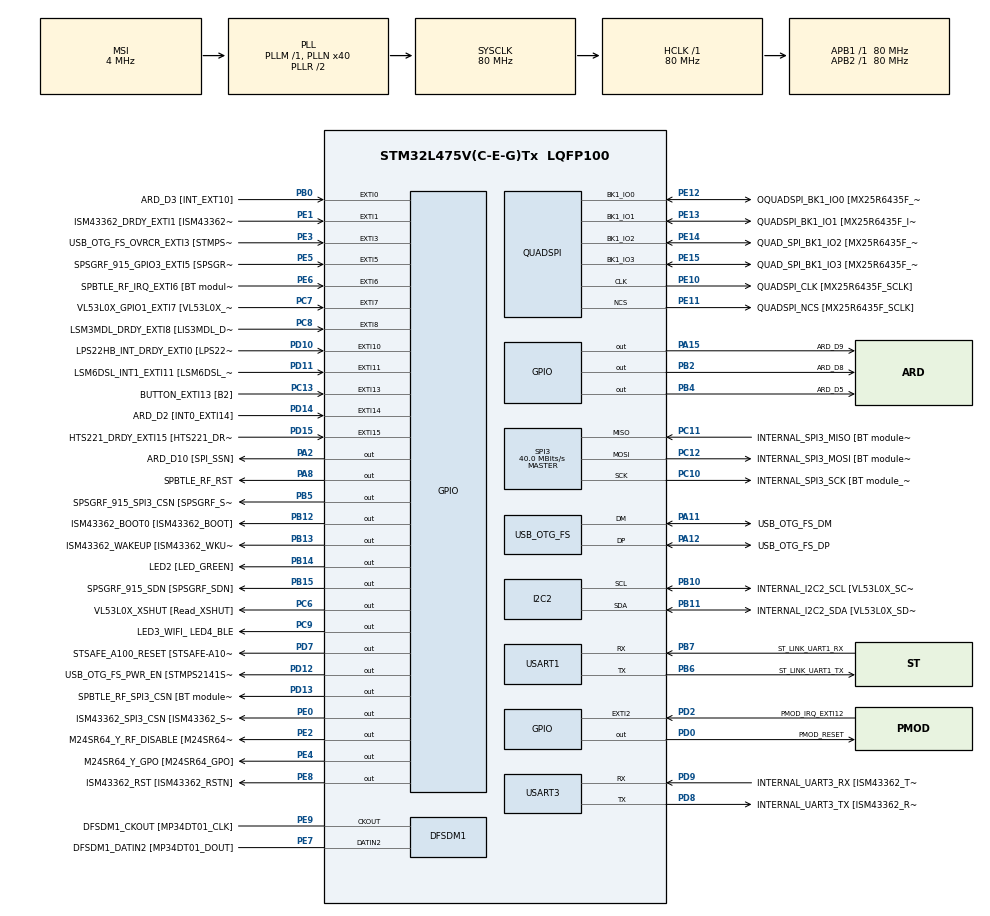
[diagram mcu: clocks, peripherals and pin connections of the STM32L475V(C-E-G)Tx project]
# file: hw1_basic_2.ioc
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FREERTOS.Tasks01=defaultTask,24,128,StartDefaultTask,Default,NULL,Dynamic,NULL,NULL
FREERTOS.configTOTAL_HEAP_SIZE=8000
I2C2.Timing=0x10D19CE4
Mcu.Family=STM32L4
Mcu.Name=STM32L475V(C-E-G)Tx
Mcu.Package=LQFP100
NVIC.EXTI15_10_IRQn=true\:5\:0\:false\:false\:true\:true\:true\:true\:true
NVIC.EXTI9_5_IRQn=true\:5\:0\:false\:false\:true\:true\:true\:true\:true
NVIC.PriorityGroup=NVIC_PRIORITYGROUP_4
NVIC.TIM6_DAC_IRQn=true\:5\:0\:false\:false\:true\:true\:true\:true\:true
PA0.GPIO_Label=ARD_D1 [UART4_TX]
PA0.Signal=UART4_TX
PA1.GPIO_Label=ARD_D0 [UART4_RX]
PA1.Signal=UART4_RX
PA10.GPIO_Label=USB_OTG_FS_ID
PA10.Signal=USB_OTG_FS_ID
PA11.GPIO_Label=USB_OTG_FS_DM
PA11.Mode=Device_Only
PA11.Signal=USB_OTG_FS_DM
PA12.GPIO_Label=USB_OTG_FS_DP
PA12.Mode=Device_Only
PA12.Signal=USB_OTG_FS_DP
PA13\ (JTMS-SWDIO).GPIO_Label=SYS_JTMS_SWDIO
PA13\ (JTMS-SWDIO).Mode=Serial_Wire
PA13\ (JTMS-SWDIO).Signal=SYS_JTMS-SWDIO
PA14\ (JTCK-SWCLK).GPIO_Label=SYS_JTCK_SWCLK
PA14\ (JTCK-SWCLK).Mode=Serial_Wire
PA14\ (JTCK-SWCLK).Signal=SYS_JTCK-SWCLK
PA15\ (JTDI).GPIO_Label=ARD_D9
PA15\ (JTDI).Signal=GPIO_Output
PA2.GPIO_Label=ARD_D10 [SPI_SSN]
PA2.Signal=GPIO_Output
PA3.GPIO_Label=ARD_D4
PA3.Signal=S_TIM2_CH4
PA4.GPIO_Label=ARD_D7
PA4.Signal=ADCx_IN9
PA5.GPIO_Label=ARD_D13 [SPI1_SCK]
PA5.Signal=SPI1_SCK
PA6.GPIO_Label=ARD_D12 [SPI1_MISO]
PA6.Signal=SPI1_MISO
PA7.GPIO_Label=ARD_D11 [SPI1_MOSI]
PA7.Signal=SPI1_MOSI
PA8.GPIO_Label=SPBTLE_RF_RST
PA8.Signal=GPIO_Output
PA9.GPIO_Label=USB_OTG_FS_VBUS [STMPS2141STR_OUT]
PA9.Signal=USB_OTG_FS_VBUS
PB0.GPIO_Label=ARD_D3 [INT_EXT10]
PB0.Signal=GPXTI0
PB1.GPIO_Label=ARD_D6 [ADC1_IN6]
PB1.Signal=ADCx_IN16
PB10.GPIO_Label=INTERNAL_I2C2_SCL [VL53L0X_SCL]
PB10.GPIO_Pu=GPIO_PULLUP
PB10.Mode=I2C
PB10.Signal=I2C2_SCL
PB11.GPIO_Label=INTERNAL_I2C2_SDA [VL53L0X_SDA]
PB11.GPIO_Pu=GPIO_PULLUP
PB11.Mode=I2C
PB11.Signal=I2C2_SDA
PB12.GPIO_Label=ISM43362_BOOT0 [ISM43362_BOOT]
PB12.Signal=GPIO_Output
PB13.GPIO_Label=ISM43362_WAKEUP [ISM43362_WKUP]
PB13.Signal=GPIO_Output
PB14.GPIO_Label=LED2 [LED_GREEN]
PB14.Signal=GPIO_Output
PB15.GPIO_Label=SPSGRF_915_SDN [SPSGRF_SDN]
PB15.Signal=GPIO_Output
PB2.GPIO_Label=ARD_D8
PB2.Signal=GPIO_Output
PB3\ (JTDO-TRACESWO).GPIO_Label=SYS_JTD0_SWO
PB3\ (JTDO-TRACESWO).Signal=SYS_JTDO-SWO
PB4\ (NJTRST).GPIO_Label=ARD_D5
PB4\ (NJTRST).Signal=GPIO_Output
PB5.GPIO_Label=SPSGRF_915_SPI3_CSN [SPSGRF_SPI_CS]
PB5.PinState=GPIO_PIN_SET
PB5.Signal=GPIO_Output
PB6.GPIO_Label=ST_LINK_UART1_TX
PB6.Mode=Asynchronous
PB6.Signal=USART1_TX
PB7.GPIO_Label=ST_LINK_UART1_RX
PB7.Mode=Asynchronous
PB7.Signal=USART1_RX
PB8.GPIO_Label=ARD_D15 [I2C1_SCL]
PB8.Signal=I2C1_SCL
PB9.GPIO_Label=ARD_D14 [I2C1_SDA]
PB9.Signal=I2C1_SDA
PC0.GPIO_Label=ARD_A5 [ADC]
PC0.Signal=ADCx_IN1
PC1.GPIO_Label=ARD_A4 [ADC]
PC1.Signal=ADCx_IN2
PC10.GPIO_Label=INTERNAL_SPI3_SCK [BT module_SPI_SCLK] [ISM43362_SCK]
PC10.Mode=Full_Duplex_Master
PC10.Signal=SPI3_SCK
PC11.GPIO_Label=INTERNAL_SPI3_MISO [BT module_SPI_MISO] [ISM43362_MISO]
PC11.Mode=Full_Duplex_Master
PC11.Signal=SPI3_MISO
PC12.GPIO_Label=INTERNAL_SPI3_MOSI [BT module_SPI_MOSI] [ISM43362_MOSI]
PC12.Mode=Full_Duplex_Master
PC12.Signal=SPI3_MOSI
PC13.GPIO_Label=BUTTON_EXTI13 [B2]
PC13.GPIO_ModeDefaultEXTI=GPIO_MODE_IT_FALLING
PC13.Signal=GPXTI13
PC14-OSC32_IN\ (PC14).Mode=LSE-External-Oscillator
PC14-OSC32_IN\ (PC14).Signal=RCC_OSC32_IN
PC15-OSC32_OUT\ (PC15).Mode=LSE-External-Oscillator
PC15-OSC32_OUT\ (PC15).Signal=RCC_OSC32_OUT
PC2.GPIO_Label=ARD_A3 [ADC]
PC2.Signal=ADCx_IN3
PC3.GPIO_Label=ARD_A2 [ADC]
PC3.Signal=ADCx_IN4
PC4.GPIO_Label=ARD_A1 [ADC]
PC4.Signal=ADCx_IN13
PC5.GPIO_Label=ARD_A0 [ADC]
PC5.Signal=ADCx_IN14
PC6.GPIO_Label=VL53L0X_XSHUT [Read_XSHUT]
PC6.Signal=GPIO_Output
PC7.GPIO_Label=VL53L0X_GPIO1_EXTI7 [VL53L0X_GPIO1]
PC7.Signal=GPXTI7
PC8.GPIO_Label=LSM3MDL_DRDY_EXTI8 [LIS3MDL_DRDY]
PC8.Signal=GPXTI8
PC9.GPIO_Label=LED3_WIFI_ LED4_BLE
PC9.Signal=GPIO_Output
PD0.GPIO_Label=PMOD_RESET
PD0.Signal=GPIO_Output
PD1.GPIO_Label=PMOD_SPI2_SCK
PD1.Signal=SPI2_SCK
PD10.GPIO_Label=LPS22HB_INT_DRDY_EXTI0 [LPS22HB_INT_DRDY] 
PD10.Signal=GPXTI10
PD11.GPIO_Label=LSM6DSL_INT1_EXTI11 [LSM6DSL_INT1]
PD11.Signal=GPXTI11
PD12.GPIO_Label=USB_OTG_FS_PWR_EN [STMPS2141STR_EN]
PD12.Signal=GPIO_Output
PD13.GPIO_Label=SPBTLE_RF_SPI3_CSN [BT module_SPI_CS]
PD13.PinState=GPIO_PIN_SET
PD13.Signal=GPIO_Output
PD14.GPIO_Label=ARD_D2 [INT0_EXTI14]
PD14.Signal=GPXTI14
PD15.GPIO_Label=HTS221_DRDY_EXTI15 [HTS221_DRDY]
PD15.Signal=GPXTI15
PD2.GPIO_Label=PMOD_IRQ_EXTI12
PD2.Signal=GPXTI2
PD3.GPIO_Label=PMOD_UART2_CTS
PD3.Signal=USART2_CTS
PD4.GPIO_Label=PMOD_UART2_RTS
PD4.Signal=USART2_RTS
PD5.GPIO_Label=PMOD_UART2_TX
PD5.Signal=USART2_TX
PD6.GPIO_Label=PMOD_UART2_RX
PD6.Signal=USART2_RX
PD7.GPIO_Label=STSAFE_A100_RESET [STSAFE-A100_RESET]
PD7.Signal=GPIO_Output
PD8.GPIO_Label=INTERNAL_UART3_TX [ISM43362_RX]
PD8.Mode=Asynchronous
PD8.Signal=USART3_TX
PD9.GPIO_Label=INTERNAL_UART3_RX [ISM43362_TX]
PD9.Mode=Asynchronous
PD9.Signal=USART3_RX
PE0.GPIO_Label=ISM43362_SPI3_CSN [ISM43362_SSN]
PE0.PinState=GPIO_PIN_SET
PE0.Signal=GPIO_Output
PE1.GPIO_Label=ISM43362_DRDY_EXTI1 [ISM43362_DATARDY]
PE1.Signal=GPXTI1
PE10.GPIO_Label=QUADSPI_CLK [MX25R6435F_SCLK]
PE10.Mode=Single Bank
PE10.Signal=QUADSPI_CLK
PE11.GPIO_Label=QUADSPI_NCS [MX25R6435F_SCLK]
PE11.Mode=Single Bank
PE11.Signal=QUADSPI_NCS
PE12.GPIO_Label=OQUADSPI_BK1_IO0 [MX25R6435F_IO0]
PE12.Mode=Single Bank
PE12.Signal=QUADSPI_BK1_IO0
PE13.GPIO_Label=QUADSPI_BK1_IO1 [MX25R6435F_IO1]
PE13.Mode=Single Bank
PE13.Signal=QUADSPI_BK1_IO1
PE14.GPIO_Label=QUAD_SPI_BK1_IO2 [MX25R6435F_IO2]
PE14.Mode=Single Bank
PE14.Signal=QUADSPI_BK1_IO2
PE15.GPIO_Label=QUAD_SPI_BK1_IO3 [MX25R6435F_IO3]
PE15.Mode=Single Bank
PE15.Signal=QUADSPI_BK1_IO3
PE2.GPIO_Label=M24SR64_Y_RF_DISABLE [M24SR64_RFDIS]
PE2.Signal=GPIO_Output
PE3.GPIO_Label=USB_OTG_FS_OVRCR_EXTI3 [STMPS2141STR_FAULT]
PE3.Signal=GPXTI3
PE4.GPIO_Label=M24SR64_Y_GPO [M24SR64_GPO]
PE4.Signal=GPIO_Output
PE5.GPIO_Label=SPSGRF_915_GPIO3_EXTI5 [SPSGRF_GPIO_3]
PE5.Signal=GPXTI5
PE6.GPIO_Label=SPBTLE_RF_IRQ_EXTI6 [BT module_SPI_IRQ]
PE6.Signal=GPXTI6
PE7.GPIO_Label=DFSDM1_DATIN2 [MP34DT01_DOUT]
PE7.Signal=S_DATAIN2DFSDM1
PE8.GPIO_Label=ISM43362_RST [ISM43362_RSTN]
PE8.Signal=GPIO_Output
PE9.GPIO_Label=DFSDM1_CKOUT [MP34DT01_CLK]
PE9.Signal=S_CKOUTDFSDM1
ProjectManager.HeapSize=0x200
ProjectManager.StackSize=0x400
ProjectManager.TargetToolchain=STM32CubeIDE
QUADSPI.ClockPrescaler=2
QUADSPI.FifoThreshold=4
QUADSPI.FlashSize=23
QUADSPI.SampleShifting=QSPI_SAMPLE_SHIFTING_HALFCYCLE
RCC.ADCFreq_Value=48000000
RCC.AHBFreq_Value=80000000
RCC.APB1Freq_Value=80000000
RCC.APB1TimFreq_Value=80000000
RCC.APB2Freq_Value=80000000
RCC.APB2TimFreq_Value=80000000
RCC.CortexFreq_Value=80000000
RCC.HCLKFreq_Value=80000000
RCC.HSE_VALUE=8000000
RCC.HSI_VALUE=16000000
RCC.MSI_VALUE=4000000
RCC.PLLN=40
RCC.PLLSAI1N=24
RCC.SYSCLKFreq_VALUE=80000000
RCC.SYSCLKSource=RCC_SYSCLKSOURCE_PLLCLK
RCC.USBFreq_Value=48000000
RCC.VCOOutputFreq_Value=160000000
SH.ADCx_IN1.0=ADC1_IN1
SH.ADCx_IN13.0=ADC1_IN13
SH.ADCx_IN14.0=ADC1_IN14
SH.ADCx_IN16.0=ADC1_IN16
SH.ADCx_IN2.0=ADC1_IN2
SH.ADCx_IN3.0=ADC1_IN3
SH.ADCx_IN4.0=ADC1_IN4
SH.ADCx_IN9.0=ADC1_IN9
SH.S_CKOUTDFSDM1.0=DFSDM1_CKOUT,CKOUT
SH.S_CKOUTDFSDM1.1=DFSDM1_CKOUT,PDM_SPI_Input_from_ch12_and_Internal_Clock
SH.S_DATAIN2DFSDM1.0=DFSDM1_DATIN2,PDM_SPI_Input_from_ch12_and_Internal_Clock
SH.S_TIM2_CH4.0=TIM2_CH4
SPI3.CalculateBaudRate=40.0 MBits/s
SPI3.Direction=SPI_DIRECTION_2LINES
SPI3.Mode=SPI_MODE_MASTER
SPI3.VirtualType=VM_MASTER
TIM6.Period=49999
TIM6.Prescaler=15999
USART1.VirtualMode-Asynchronous=VM_ASYNC
USART3.VirtualMode-Asynchronous=VM_ASYNC
USB_OTG_FS.VirtualMode=Device_Only
VP_FREERTOS_VS_CMSIS_V2.Mode=CMSIS_V2
VP_TIM6_VS_ClockSourceINT.Mode=Enable_Timer
board=B-L475E-IOT01A2

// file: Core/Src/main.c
/* USER CODE BEGIN Header */
/**
  ******************************************************************************
  * @file           : main.c
  * @brief          : Main program body
  ******************************************************************************
  * @attention
  *
  * Copyright (c) 2025 STMicroelectronics.
  * All rights reserved.
  *
  * This software is licensed under terms that can be found in the LICENSE file
  * in the root directory of this software component.
  * If no LICENSE file comes with this software, it is provided AS-IS.
  *
  ******************************************************************************
  */
/* USER CODE END Header */
#include "main.h"
#include "cmsis_os.h"

/* USER CODE BEGIN Includes */
#include "cmsis_os2.h"
#include <stdbool.h>
/* USER CODE END Includes */

DFSDM_Channel_HandleTypeDef hdfsdm1_channel1;

I2C_HandleTypeDef hi2c2;

QSPI_HandleTypeDef hqspi;

SPI_HandleTypeDef hspi3;

TIM_HandleTypeDef htim6;

UART_HandleTypeDef huart1;
UART_HandleTypeDef huart3;

PCD_HandleTypeDef hpcd_USB_OTG_FS;

/* Definitions for defaultTask */
osThreadId_t defaultTaskHandle;
const osThreadAttr_t defaultTask_attributes = {
  .name = "defaultTask",
  .stack_size = 128 * 4,
  .priority = (osPriority_t) osPriorityNormal,
};
/* USER CODE BEGIN PV */
osThreadId_t task1Handle, task2Handle;
osMutexId_t  gBlinkMutex;
osSemaphoreId_t semBtn;    // 按鍵觸發
osSemaphoreId_t semTimer;  // 10s 觸發
/* USER CODE END PV */

void SystemClock_Config(void);
static void MX_GPIO_Init(void);
static void MX_DFSDM1_Init(void);
static void MX_I2C2_Init(void);
static void MX_QUADSPI_Init(void);
static void MX_SPI3_Init(void);
static void MX_USART1_UART_Init(void);
static void MX_USART3_UART_Init(void);
static void MX_USB_OTG_FS_PCD_Init(void);
static void MX_TIM6_Init(void);
void StartDefaultTask(void *argument);

/* USER CODE BEGIN PFP */
static void Task1(void *argument);
static void Task2(void *argument);
static void blink_blocking(uint32_t duration_ms, float hz);
/* USER CODE END PFP */

/* USER CODE BEGIN 0 */
static void blink_blocking(uint32_t duration_ms, float hz)
{
  osMutexAcquire(gBlinkMutex, osWaitForever);

  uint32_t period_ms = (uint32_t)(1000.0f / hz);
  uint32_t elapsed = 0;
  // 簡單對等 on/off：每半週期切一次
  while (elapsed < duration_ms) {
    HAL_GPIO_TogglePin(LED2_GPIO_Port, LED2_Pin);
    osDelay(period_ms / 2);
    elapsed += period_ms / 2;

    HAL_GPIO_TogglePin(LED2_GPIO_Port, LED2_Pin);
    osDelay(period_ms / 2);
    elapsed += period_ms / 2;
  }
  // 收尾：關燈
  HAL_GPIO_WritePin(LED2_GPIO_Port, LED2_Pin, GPIO_PIN_RESET);

  osMutexRelease(gBlinkMutex);
}

// ===== Task_1：按鍵觸發（5s @ 1Hz）=====
static void Task1(void *argument)
{
  (void)argument;
  for (;;) {
    if (osSemaphoreAcquire(semBtn, osWaitForever) == osOK) {
      blink_blocking(5000, 1.0f);
    }
  }
}

// ===== Task_2：每 10s 觸發（2s @ 10Hz）=====
static void Task2(void *argument)
{
  (void)argument;
  for (;;) {
    if (osSemaphoreAcquire(semTimer, osWaitForever) == osOK) {
      blink_blocking(2000, 10.0f);
    }
  }
}

// ===== EXTI 按鍵回呼：喚醒 Task_1 =====
void HAL_GPIO_EXTI_Callback(uint16_t GPIO_Pin)
{
  if (GPIO_Pin == BUTTON_EXTI13_Pin) {   // 依你專案的巨集名稱
    osSemaphoreRelease(semBtn);        // CMSIS-RTOS2 封裝的 ISR-safe
  }
}
void HAL_TIM_PeriodElapsedCallback(TIM_HandleTypeDef *htim)
{
  if (htim->Instance == TIM6) {
    osSemaphoreRelease(semTimer);      // ISR-safe
  }
}
// ===== TIM6 週期回呼：喚醒 Task_2 =====

/* USER CODE END 0 */

int main(void)
{

  /* MCU Configuration--------------------------------------------------------*/

  /* Reset of all peripherals, Initializes the Flash interface and the Systick. */
  HAL_Init();

  /* Configure the system clock */
  SystemClock_Config();

  /* Initialize all configured peripherals */
  MX_GPIO_Init();
  MX_DFSDM1_Init();
  MX_I2C2_Init();
  MX_QUADSPI_Init();
  MX_SPI3_Init();
  MX_USART1_UART_Init();
  MX_USART3_UART_Init();
  MX_USB_OTG_FS_PCD_Init();
  MX_TIM6_Init();
  /* USER CODE BEGIN 2 */
  HAL_TIM_Base_Start_IT(&htim6);  // 啟動 TIM6 並開中斷
  /* USER CODE END 2 */

  /* Init scheduler */
  osKernelInitialize();

  /* USER CODE BEGIN RTOS_MUTEX */
  /* add mutexes, ... */

  const osMutexAttr_t mtxAttr = { .name = "blinkMutex" };
  gBlinkMutex = osMutexNew(&mtxAttr);
  /* USER CODE END RTOS_MUTEX */

  /* USER CODE BEGIN RTOS_SEMAPHORES */
  /* add semaphores, ... */
  const osSemaphoreAttr_t semBtnAttr = { .name = "semBtn" };
    semBtn   = osSemaphoreNew(1, 0, &semBtnAttr);

  /* USER CODE END RTOS_SEMAPHORES */

  /* USER CODE BEGIN RTOS_TIMERS */
    const osSemaphoreAttr_t semTmrAttr = { .name = "semTimer" };
      semTimer = osSemaphoreNew(1, 0, &semTmrAttr);

  /* start timers, add new ones, ... */
  /* USER CODE END RTOS_TIMERS */

  /* Create the thread(s) */
  /* creation of defaultTask */
  defaultTaskHandle = osThreadNew(StartDefaultTask, NULL, &defaultTask_attributes);

  /* USER CODE BEGIN RTOS_THREADS */
  /* add threads, ... */
  const osThreadAttr_t t1Attr = {
    .name = "Task_1",
    .priority = osPriorityBelowNormal,
    .stack_size = 512
  };
  task1Handle = osThreadNew(Task1, NULL, &t1Attr);

  const osThreadAttr_t t2Attr = {
    .name = "Task_2",
    .priority = osPriorityNormal,
    .stack_size = 512
  };
  task2Handle = osThreadNew(Task2, NULL, &t2Attr);
  /* USER CODE END RTOS_THREADS */

  /* Start scheduler */
  osKernelStart();

  /* We should never get here as control is now taken by the scheduler */

  /* Infinite loop */
  while (1)
  {

  }
}

void SystemClock_Config(void)
{
  RCC_OscInitTypeDef RCC_OscInitStruct = {0};
  RCC_ClkInitTypeDef RCC_ClkInitStruct = {0};

  /** Configure the main internal regulator output voltage
  */
  if (HAL_PWREx_ControlVoltageScaling(PWR_REGULATOR_VOLTAGE_SCALE1) != HAL_OK)
  {
    Error_Handler();
  }

  /** Configure LSE Drive Capability
  */
  HAL_PWR_EnableBkUpAccess();
  __HAL_RCC_LSEDRIVE_CONFIG(RCC_LSEDRIVE_LOW);

  /** Initializes the RCC Oscillators according to the specified parameters
  * in the RCC_OscInitTypeDef structure.
  */
  RCC_OscInitStruct.OscillatorType = RCC_OSCILLATORTYPE_LSE|RCC_OSCILLATORTYPE_MSI;
  RCC_OscInitStruct.LSEState = RCC_LSE_ON;
  RCC_OscInitStruct.MSIState = RCC_MSI_ON;
  RCC_OscInitStruct.MSICalibrationValue = 0;
  RCC_OscInitStruct.MSIClockRange = RCC_MSIRANGE_6;
  RCC_OscInitStruct.PLL.PLLState = RCC_PLL_ON;
  RCC_OscInitStruct.PLL.PLLSource = RCC_PLLSOURCE_MSI;
  RCC_OscInitStruct.PLL.PLLM = 1;
  RCC_OscInitStruct.PLL.PLLN = 40;
  RCC_OscInitStruct.PLL.PLLP = RCC_PLLP_DIV7;
  RCC_OscInitStruct.PLL.PLLQ = RCC_PLLQ_DIV2;
  RCC_OscInitStruct.PLL.PLLR = RCC_PLLR_DIV2;
  if (HAL_RCC_OscConfig(&RCC_OscInitStruct) != HAL_OK)
  {
    Error_Handler();
  }

  /** Initializes the CPU, AHB and APB buses clocks
  */
  RCC_ClkInitStruct.ClockType = RCC_CLOCKTYPE_HCLK|RCC_CLOCKTYPE_SYSCLK
                              |RCC_CLOCKTYPE_PCLK1|RCC_CLOCKTYPE_PCLK2;
  RCC_ClkInitStruct.SYSCLKSource = RCC_SYSCLKSOURCE_PLLCLK;
  RCC_ClkInitStruct.AHBCLKDivider = RCC_SYSCLK_DIV1;
  RCC_ClkInitStruct.APB1CLKDivider = RCC_HCLK_DIV1;
  RCC_ClkInitStruct.APB2CLKDivider = RCC_HCLK_DIV1;

  if (HAL_RCC_ClockConfig(&RCC_ClkInitStruct, FLASH_LATENCY_4) != HAL_OK)
  {
    Error_Handler();
  }

  /** Enable MSI Auto calibration
  */
  HAL_RCCEx_EnableMSIPLLMode();
}

static void MX_DFSDM1_Init(void)
{

  hdfsdm1_channel1.Instance = DFSDM1_Channel1;
  hdfsdm1_channel1.Init.OutputClock.Activation = ENABLE;
  hdfsdm1_channel1.Init.OutputClock.Selection = DFSDM_CHANNEL_OUTPUT_CLOCK_SYSTEM;
  hdfsdm1_channel1.Init.OutputClock.Divider = 2;
  hdfsdm1_channel1.Init.Input.Multiplexer = DFSDM_CHANNEL_EXTERNAL_INPUTS;
  hdfsdm1_channel1.Init.Input.DataPacking = DFSDM_CHANNEL_STANDARD_MODE;
  hdfsdm1_channel1.Init.Input.Pins = DFSDM_CHANNEL_FOLLOWING_CHANNEL_PINS;
  hdfsdm1_channel1.Init.SerialInterface.Type = DFSDM_CHANNEL_SPI_RISING;
  hdfsdm1_channel1.Init.SerialInterface.SpiClock = DFSDM_CHANNEL_SPI_CLOCK_INTERNAL;
  hdfsdm1_channel1.Init.Awd.FilterOrder = DFSDM_CHANNEL_FASTSINC_ORDER;
  hdfsdm1_channel1.Init.Awd.Oversampling = 1;
  hdfsdm1_channel1.Init.Offset = 0;
  hdfsdm1_channel1.Init.RightBitShift = 0x00;
  if (HAL_DFSDM_ChannelInit(&hdfsdm1_channel1) != HAL_OK)
  {
    Error_Handler();
  }

}

static void MX_I2C2_Init(void)
{

  hi2c2.Instance = I2C2;
  hi2c2.Init.Timing = 0x10D19CE4;
  hi2c2.Init.OwnAddress1 = 0;
  hi2c2.Init.AddressingMode = I2C_ADDRESSINGMODE_7BIT;
  hi2c2.Init.DualAddressMode = I2C_DUALADDRESS_DISABLE;
  hi2c2.Init.OwnAddress2 = 0;
  hi2c2.Init.OwnAddress2Masks = I2C_OA2_NOMASK;
  hi2c2.Init.GeneralCallMode = I2C_GENERALCALL_DISABLE;
  hi2c2.Init.NoStretchMode = I2C_NOSTRETCH_DISABLE;
  if (HAL_I2C_Init(&hi2c2) != HAL_OK)
  {
    Error_Handler();
  }

  /** Configure Analogue filter
  */
  if (HAL_I2CEx_ConfigAnalogFilter(&hi2c2, I2C_ANALOGFILTER_ENABLE) != HAL_OK)
  {
    Error_Handler();
  }

  /** Configure Digital filter
  */
  if (HAL_I2CEx_ConfigDigitalFilter(&hi2c2, 0) != HAL_OK)
  {
    Error_Handler();
  }

}

static void MX_QUADSPI_Init(void)
{

  /* QUADSPI parameter configuration*/
  hqspi.Instance = QUADSPI;
  hqspi.Init.ClockPrescaler = 2;
  hqspi.Init.FifoThreshold = 4;
  hqspi.Init.SampleShifting = QSPI_SAMPLE_SHIFTING_HALFCYCLE;
  hqspi.Init.FlashSize = 23;
  hqspi.Init.ChipSelectHighTime = QSPI_CS_HIGH_TIME_1_CYCLE;
  hqspi.Init.ClockMode = QSPI_CLOCK_MODE_0;
  if (HAL_QSPI_Init(&hqspi) != HAL_OK)
  {
    Error_Handler();
  }

}

static void MX_SPI3_Init(void)
{

  /* SPI3 parameter configuration*/
  hspi3.Instance = SPI3;
  hspi3.Init.Mode = SPI_MODE_MASTER;
  hspi3.Init.Direction = SPI_DIRECTION_2LINES;
  hspi3.Init.DataSize = SPI_DATASIZE_4BIT;
  hspi3.Init.CLKPolarity = SPI_POLARITY_LOW;
  hspi3.Init.CLKPhase = SPI_PHASE_1EDGE;
  hspi3.Init.NSS = SPI_NSS_SOFT;
  hspi3.Init.BaudRatePrescaler = SPI_BAUDRATEPRESCALER_2;
  hspi3.Init.FirstBit = SPI_FIRSTBIT_MSB;
  hspi3.Init.TIMode = SPI_TIMODE_DISABLE;
  hspi3.Init.CRCCalculation = SPI_CRCCALCULATION_DISABLE;
  hspi3.Init.CRCPolynomial = 7;
  hspi3.Init.CRCLength = SPI_CRC_LENGTH_DATASIZE;
  hspi3.Init.NSSPMode = SPI_NSS_PULSE_ENABLE;
  if (HAL_SPI_Init(&hspi3) != HAL_OK)
  {
    Error_Handler();
  }

}

static void MX_TIM6_Init(void)
{

  TIM_MasterConfigTypeDef sMasterConfig = {0};

  htim6.Instance = TIM6;
  htim6.Init.Prescaler = 15999;
  htim6.Init.CounterMode = TIM_COUNTERMODE_UP;
  htim6.Init.Period = 49999;
  htim6.Init.AutoReloadPreload = TIM_AUTORELOAD_PRELOAD_DISABLE;
  if (HAL_TIM_Base_Init(&htim6) != HAL_OK)
  {
    Error_Handler();
  }
  sMasterConfig.MasterOutputTrigger = TIM_TRGO_RESET;
  sMasterConfig.MasterSlaveMode = TIM_MASTERSLAVEMODE_DISABLE;
  if (HAL_TIMEx_MasterConfigSynchronization(&htim6, &sMasterConfig) != HAL_OK)
  {
    Error_Handler();
  }

}

static void MX_USART1_UART_Init(void)
{

  huart1.Instance = USART1;
  huart1.Init.BaudRate = 115200;
  huart1.Init.WordLength = UART_WORDLENGTH_8B;
  huart1.Init.StopBits = UART_STOPBITS_1;
  huart1.Init.Parity = UART_PARITY_NONE;
  huart1.Init.Mode = UART_MODE_TX_RX;
  huart1.Init.HwFlowCtl = UART_HWCONTROL_NONE;
  huart1.Init.OverSampling = UART_OVERSAMPLING_16;
  huart1.Init.OneBitSampling = UART_ONE_BIT_SAMPLE_DISABLE;
  huart1.AdvancedInit.AdvFeatureInit = UART_ADVFEATURE_NO_INIT;
  if (HAL_UART_Init(&huart1) != HAL_OK)
  {
    Error_Handler();
  }

}

static void MX_USART3_UART_Init(void)
{

  huart3.Instance = USART3;
  huart3.Init.BaudRate = 115200;
  huart3.Init.WordLength = UART_WORDLENGTH_8B;
  huart3.Init.StopBits = UART_STOPBITS_1;
  huart3.Init.Parity = UART_PARITY_NONE;
  huart3.Init.Mode = UART_MODE_TX_RX;
  huart3.Init.HwFlowCtl = UART_HWCONTROL_NONE;
  huart3.Init.OverSampling = UART_OVERSAMPLING_16;
  huart3.Init.OneBitSampling = UART_ONE_BIT_SAMPLE_DISABLE;
  huart3.AdvancedInit.AdvFeatureInit = UART_ADVFEATURE_NO_INIT;
  if (HAL_UART_Init(&huart3) != HAL_OK)
  {
    Error_Handler();
  }

}

static void MX_USB_OTG_FS_PCD_Init(void)
{

  hpcd_USB_OTG_FS.Instance = USB_OTG_FS;
  hpcd_USB_OTG_FS.Init.dev_endpoints = 6;
  hpcd_USB_OTG_FS.Init.speed = PCD_SPEED_FULL;
  hpcd_USB_OTG_FS.Init.phy_itface = PCD_PHY_EMBEDDED;
  hpcd_USB_OTG_FS.Init.Sof_enable = DISABLE;
  hpcd_USB_OTG_FS.Init.low_power_enable = DISABLE;
  hpcd_USB_OTG_FS.Init.lpm_enable = DISABLE;
  hpcd_USB_OTG_FS.Init.battery_charging_enable = DISABLE;
  hpcd_USB_OTG_FS.Init.use_dedicated_ep1 = DISABLE;
  hpcd_USB_OTG_FS.Init.vbus_sensing_enable = DISABLE;
  if (HAL_PCD_Init(&hpcd_USB_OTG_FS) != HAL_OK)
  {
    Error_Handler();
  }

}

static void MX_GPIO_Init(void)
{
  GPIO_InitTypeDef GPIO_InitStruct = {0};

  /* GPIO Ports Clock Enable */
  __HAL_RCC_GPIOE_CLK_ENABLE();
  __HAL_RCC_GPIOC_CLK_ENABLE();
  __HAL_RCC_GPIOA_CLK_ENABLE();
  __HAL_RCC_GPIOB_CLK_ENABLE();
  __HAL_RCC_GPIOD_CLK_ENABLE();

  /*Configure GPIO pin Output Level */
  HAL_GPIO_WritePin(GPIOE, M24SR64_Y_RF_DISABLE_Pin|M24SR64_Y_GPO_Pin|ISM43362_RST_Pin, GPIO_PIN_RESET);

  /*Configure GPIO pin Output Level */
  HAL_GPIO_WritePin(GPIOA, ARD_D10_Pin|SPBTLE_RF_RST_Pin|ARD_D9_Pin, GPIO_PIN_RESET);

  /*Configure GPIO pin Output Level */
  HAL_GPIO_WritePin(GPIOB, ARD_D8_Pin|ISM43362_BOOT0_Pin|ISM43362_WAKEUP_Pin|LED2_Pin
                          |SPSGRF_915_SDN_Pin|ARD_D5_Pin, GPIO_PIN_RESET);

  /*Configure GPIO pin Output Level */
  HAL_GPIO_WritePin(GPIOD, USB_OTG_FS_PWR_EN_Pin|PMOD_RESET_Pin|STSAFE_A100_RESET_Pin, GPIO_PIN_RESET);

  /*Configure GPIO pin Output Level */
  HAL_GPIO_WritePin(SPBTLE_RF_SPI3_CSN_GPIO_Port, SPBTLE_RF_SPI3_CSN_Pin, GPIO_PIN_SET);

  /*Configure GPIO pin Output Level */
  HAL_GPIO_WritePin(GPIOC, VL53L0X_XSHUT_Pin|LED3_WIFI__LED4_BLE_Pin, GPIO_PIN_RESET);

  /*Configure GPIO pin Output Level */
  HAL_GPIO_WritePin(SPSGRF_915_SPI3_CSN_GPIO_Port, SPSGRF_915_SPI3_CSN_Pin, GPIO_PIN_SET);

  /*Configure GPIO pin Output Level */
  HAL_GPIO_WritePin(ISM43362_SPI3_CSN_GPIO_Port, ISM43362_SPI3_CSN_Pin, GPIO_PIN_SET);

  /*Configure GPIO pins : M24SR64_Y_RF_DISABLE_Pin M24SR64_Y_GPO_Pin ISM43362_RST_Pin ISM43362_SPI3_CSN_Pin */
  GPIO_InitStruct.Pin = M24SR64_Y_RF_DISABLE_Pin|M24SR64_Y_GPO_Pin|ISM43362_RST_Pin|ISM43362_SPI3_CSN_Pin;
  GPIO_InitStruct.Mode = GPIO_MODE_OUTPUT_PP;
  GPIO_InitStruct.Pull = GPIO_NOPULL;
  GPIO_InitStruct.Speed = GPIO_SPEED_FREQ_LOW;
  HAL_GPIO_Init(GPIOE, &GPIO_InitStruct);

  /*Configure GPIO pins : USB_OTG_FS_OVRCR_EXTI3_Pin SPSGRF_915_GPIO3_EXTI5_Pin SPBTLE_RF_IRQ_EXTI6_Pin ISM43362_DRDY_EXTI1_Pin */
  GPIO_InitStruct.Pin = USB_OTG_FS_OVRCR_EXTI3_Pin|SPSGRF_915_GPIO3_EXTI5_Pin|SPBTLE_RF_IRQ_EXTI6_Pin|ISM43362_DRDY_EXTI1_Pin;
  GPIO_InitStruct.Mode = GPIO_MODE_IT_RISING;
  GPIO_InitStruct.Pull = GPIO_NOPULL;
  HAL_GPIO_Init(GPIOE, &GPIO_InitStruct);

  /*Configure GPIO pin : BUTTON_EXTI13_Pin */
  GPIO_InitStruct.Pin = BUTTON_EXTI13_Pin;
  GPIO_InitStruct.Mode = GPIO_MODE_IT_FALLING;
  GPIO_InitStruct.Pull = GPIO_NOPULL;
  HAL_GPIO_Init(BUTTON_EXTI13_GPIO_Port, &GPIO_InitStruct);

  /*Configure GPIO pins : ARD_A5_Pin ARD_A4_Pin ARD_A3_Pin ARD_A2_Pin
                           ARD_A1_Pin ARD_A0_Pin */
  GPIO_InitStruct.Pin = ARD_A5_Pin|ARD_A4_Pin|ARD_A3_Pin|ARD_A2_Pin
                          |ARD_A1_Pin|ARD_A0_Pin;
  GPIO_InitStruct.Mode = GPIO_MODE_ANALOG_ADC_CONTROL;
  GPIO_InitStruct.Pull = GPIO_NOPULL;
  HAL_GPIO_Init(GPIOC, &GPIO_InitStruct);

  /*Configure GPIO pins : ARD_D1_Pin ARD_D0_Pin */
  GPIO_InitStruct.Pin = ARD_D1_Pin|ARD_D0_Pin;
  GPIO_InitStruct.Mode = GPIO_MODE_AF_PP;
  GPIO_InitStruct.Pull = GPIO_NOPULL;
  GPIO_InitStruct.Speed = GPIO_SPEED_FREQ_VERY_HIGH;
  GPIO_InitStruct.Alternate = GPIO_AF8_UART4;
  HAL_GPIO_Init(GPIOA, &GPIO_InitStruct);

  /*Configure GPIO pins : ARD_D10_Pin SPBTLE_RF_RST_Pin ARD_D9_Pin */
  GPIO_InitStruct.Pin = ARD_D10_Pin|SPBTLE_RF_RST_Pin|ARD_D9_Pin;
  GPIO_InitStruct.Mode = GPIO_MODE_OUTPUT_PP;
  GPIO_InitStruct.Pull = GPIO_NOPULL;
  GPIO_InitStruct.Speed = GPIO_SPEED_FREQ_LOW;
  HAL_GPIO_Init(GPIOA, &GPIO_InitStruct);

  /*Configure GPIO pin : ARD_D4_Pin */
  GPIO_InitStruct.Pin = ARD_D4_Pin;
  GPIO_InitStruct.Mode = GPIO_MODE_AF_PP;
  GPIO_InitStruct.Pull = GPIO_NOPULL;
  GPIO_InitStruct.Speed = GPIO_SPEED_FREQ_LOW;
  GPIO_InitStruct.Alternate = GPIO_AF1_TIM2;
  HAL_GPIO_Init(ARD_D4_GPIO_Port, &GPIO_InitStruct);

  /*Configure GPIO pin : ARD_D7_Pin */
  GPIO_InitStruct.Pin = ARD_D7_Pin;
  GPIO_InitStruct.Mode = GPIO_MODE_ANALOG_ADC_CONTROL;
  GPIO_InitStruct.Pull = GPIO_NOPULL;
  HAL_GPIO_Init(ARD_D7_GPIO_Port, &GPIO_InitStruct);

  /*Configure GPIO pins : ARD_D13_Pin ARD_D12_Pin ARD_D11_Pin */
  GPIO_InitStruct.Pin = ARD_D13_Pin|ARD_D12_Pin|ARD_D11_Pin;
  GPIO_InitStruct.Mode = GPIO_MODE_AF_PP;
  GPIO_InitStruct.Pull = GPIO_NOPULL;
  GPIO_InitStruct.Speed = GPIO_SPEED_FREQ_VERY_HIGH;
  GPIO_InitStruct.Alternate = GPIO_AF5_SPI1;
  HAL_GPIO_Init(GPIOA, &GPIO_InitStruct);

  /*Configure GPIO pin : ARD_D3_Pin */
  GPIO_InitStruct.Pin = ARD_D3_Pin;
  GPIO_InitStruct.Mode = GPIO_MODE_IT_RISING;
  GPIO_InitStruct.Pull = GPIO_NOPULL;
  HAL_GPIO_Init(ARD_D3_GPIO_Port, &GPIO_InitStruct);

  /*Configure GPIO pin : ARD_D6_Pin */
  GPIO_InitStruct.Pin = ARD_D6_Pin;
  GPIO_InitStruct.Mode = GPIO_MODE_ANALOG_ADC_CONTROL;
  GPIO_InitStruct.Pull = GPIO_NOPULL;
  HAL_GPIO_Init(ARD_D6_GPIO_Port, &GPIO_InitStruct);

  /*Configure GPIO pins : ARD_D8_Pin ISM43362_BOOT0_Pin ISM43362_WAKEUP_Pin LED2_Pin
                           SPSGRF_915_SDN_Pin ARD_D5_Pin SPSGRF_915_SPI3_CSN_Pin */
  GPIO_InitStruct.Pin = ARD_D8_Pin|ISM43362_BOOT0_Pin|ISM43362_WAKEUP_Pin|LED2_Pin
                          |SPSGRF_915_SDN_Pin|ARD_D5_Pin|SPSGRF_915_SPI3_CSN_Pin;
  GPIO_InitStruct.Mode = GPIO_MODE_OUTPUT_PP;
  GPIO_InitStruct.Pull = GPIO_NOPULL;
  GPIO_InitStruct.Speed = GPIO_SPEED_FREQ_LOW;
  HAL_GPIO_Init(GPIOB, &GPIO_InitStruct);

  /*Configure GPIO pins : LPS22HB_INT_DRDY_EXTI0_Pin LSM6DSL_INT1_EXTI11_Pin ARD_D2_Pin HTS221_DRDY_EXTI15_Pin
                           PMOD_IRQ_EXTI12_Pin */
  GPIO_InitStruct.Pin = LPS22HB_INT_DRDY_EXTI0_Pin|LSM6DSL_INT1_EXTI11_Pin|ARD_D2_Pin|HTS221_DRDY_EXTI15_Pin
                          |PMOD_IRQ_EXTI12_Pin;
  GPIO_InitStruct.Mode = GPIO_MODE_IT_RISING;
  GPIO_InitStruct.Pull = GPIO_NOPULL;
  HAL_GPIO_Init(GPIOD, &GPIO_InitStruct);

  /*Configure GPIO pins : USB_OTG_FS_PWR_EN_Pin SPBTLE_RF_SPI3_CSN_Pin PMOD_RESET_Pin STSAFE_A100_RESET_Pin */
  GPIO_InitStruct.Pin = USB_OTG_FS_PWR_EN_Pin|SPBTLE_RF_SPI3_CSN_Pin|PMOD_RESET_Pin|STSAFE_A100_RESET_Pin;
  GPIO_InitStruct.Mode = GPIO_MODE_OUTPUT_PP;
  GPIO_InitStruct.Pull = GPIO_NOPULL;
  GPIO_InitStruct.Speed = GPIO_SPEED_FREQ_LOW;
  HAL_GPIO_Init(GPIOD, &GPIO_InitStruct);

  /*Configure GPIO pins : VL53L0X_XSHUT_Pin LED3_WIFI__LED4_BLE_Pin */
  GPIO_InitStruct.Pin = VL53L0X_XSHUT_Pin|LED3_WIFI__LED4_BLE_Pin;
  GPIO_InitStruct.Mode = GPIO_MODE_OUTPUT_PP;
  GPIO_InitStruct.Pull = GPIO_NOPULL;
  GPIO_InitStruct.Speed = GPIO_SPEED_FREQ_LOW;
  HAL_GPIO_Init(GPIOC, &GPIO_InitStruct);

  /*Configure GPIO pins : VL53L0X_GPIO1_EXTI7_Pin LSM3MDL_DRDY_EXTI8_Pin */
  GPIO_InitStruct.Pin = VL53L0X_GPIO1_EXTI7_Pin|LSM3MDL_DRDY_EXTI8_Pin;
  GPIO_InitStruct.Mode = GPIO_MODE_IT_RISING;
  GPIO_InitStruct.Pull = GPIO_NOPULL;
  HAL_GPIO_Init(GPIOC, &GPIO_InitStruct);

  /*Configure GPIO pin : PMOD_SPI2_SCK_Pin */
  GPIO_InitStruct.Pin = PMOD_SPI2_SCK_Pin;
  GPIO_InitStruct.Mode = GPIO_MODE_AF_PP;
  GPIO_InitStruct.Pull = GPIO_NOPULL;
  GPIO_InitStruct.Speed = GPIO_SPEED_FREQ_VERY_HIGH;
  GPIO_InitStruct.Alternate = GPIO_AF5_SPI2;
  HAL_GPIO_Init(PMOD_SPI2_SCK_GPIO_Port, &GPIO_InitStruct);

  /*Configure GPIO pins : PMOD_UART2_CTS_Pin PMOD_UART2_RTS_Pin PMOD_UART2_TX_Pin PMOD_UART2_RX_Pin */
  GPIO_InitStruct.Pin = PMOD_UART2_CTS_Pin|PMOD_UART2_RTS_Pin|PMOD_UART2_TX_Pin|PMOD_UART2_RX_Pin;
  GPIO_InitStruct.Mode = GPIO_MODE_AF_PP;
  GPIO_InitStruct.Pull = GPIO_NOPULL;
  GPIO_InitStruct.Speed = GPIO_SPEED_FREQ_VERY_HIGH;
  GPIO_InitStruct.Alternate = GPIO_AF7_USART2;
  HAL_GPIO_Init(GPIOD, &GPIO_InitStruct);

  /*Configure GPIO pins : ARD_D15_Pin ARD_D14_Pin */
  GPIO_InitStruct.Pin = ARD_D15_Pin|ARD_D14_Pin;
  GPIO_InitStruct.Mode = GPIO_MODE_AF_OD;
  GPIO_InitStruct.Pull = GPIO_NOPULL;
  GPIO_InitStruct.Speed = GPIO_SPEED_FREQ_VERY_HIGH;
  GPIO_InitStruct.Alternate = GPIO_AF4_I2C1;
  HAL_GPIO_Init(GPIOB, &GPIO_InitStruct);

  /* EXTI interrupt init*/
  HAL_NVIC_SetPriority(EXTI9_5_IRQn, 5, 0);
  HAL_NVIC_EnableIRQ(EXTI9_5_IRQn);

  HAL_NVIC_SetPriority(EXTI15_10_IRQn, 5, 0);
  HAL_NVIC_EnableIRQ(EXTI15_10_IRQn);

}

void StartDefaultTask(void *argument)
{
  for(;;)
  {
    osDelay(1);
  }
}

void Error_Handler(void)
{
  __disable_irq();
  while (1)
  {
  }
}
